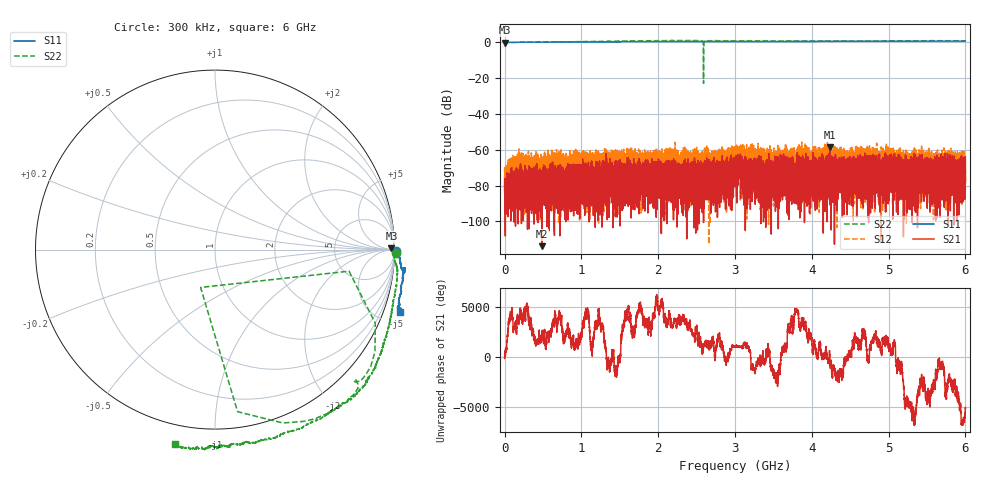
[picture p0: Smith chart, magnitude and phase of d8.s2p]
!Agilent Technologies,N5230C,SG49000117,A.08.50.07
!Agilent N5230C: A.08.50.07
!Date: Friday, May 17, 2024 03:38:08
!Correction: S11(Full 2 Port(1,2))
!S21(Full 2 Port(1,2))
!S12(Full 2 Port(1,2))
!S22(Full 2 Port(1,2))
!S2P File: Measurements: S11, S21, S12, S22:
# Hz S  MA  R 50
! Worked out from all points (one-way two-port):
!   20001 points, 300 kHz to 6 GHz, reference 50 ohm
!   highest |S21| = -58.65 dB at 4.233 GHz (marker M1); lowest = -113.9 dB at 486 MHz (marker M2)
!   lowest |S11| = -0.1 dB at 600 kHz (marker M3), VSWR 116.28, Z = 5.01e+03 + j2.01e+03 ohm
!   |S11| at or under -10 dB: nowhere
!   |S22| runs from -22.9 to 1.1 dB; largest |S21 - S12| = 0.0016
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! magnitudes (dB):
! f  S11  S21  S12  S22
! 300 kHz  0.1  -77.4  -69.7  0.1
! 600 kHz  -0.1  -83.3  -73.8  -0.3
! 486 MHz  0.2  -113.9  -68.9  0.2
! 1 GHz  0.2  -74.4  -63.6  0.4
! 2 GHz  0.5  -86.6  -81.1  0.9
! 2.165 GHz  0.5  -73.7  -64.2  1.0
! 2.403 GHz  0.5  -71.7  -69.8  1.1
! 2.771 GHz  0.5  -73.7  -63.3  1.0
! 3 GHz  0.5  -65.5  -74.7  0.9
! 3.329 GHz  0.5  -79.0  -66.4  0.9
! 3.38 GHz  0.5  -71.7  -72.3  0.9
! 4 GHz  0.5  -76.7  -67.6  0.8
! 4.233 GHz  0.6  -58.6  -68.4  0.8
! 4.768 GHz  0.7  -80.1  -70.0  0.8
! 4.884 GHz  0.7  -72.7  -64.0  0.8
! 5 GHz  0.7  -69.5  -72.7  0.8
! 5.27 GHz  0.7  -75.0  -66.7  0.9
! 5.341 GHz  0.7  -71.0  -64.0  0.9
! 5.602 GHz  0.7  -63.9  -75.1  0.9
! 5.842 GHz  0.7  -74.6  -70.9  0.9
! 5.969 GHz  0.7  -64.4  -68.2  0.9
! 6 GHz  0.7  -77.6  -81.9  0.9
